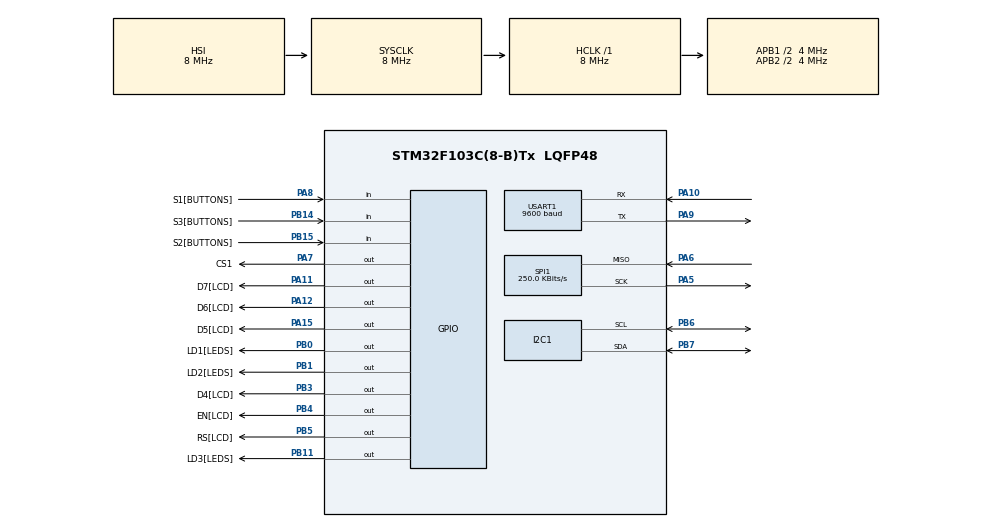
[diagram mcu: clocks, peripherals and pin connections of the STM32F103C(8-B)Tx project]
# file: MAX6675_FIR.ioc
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I2C1.I2C_Mode=I2C_Standard
Mcu.Family=STM32F1
Mcu.Name=STM32F103C(8-B)Tx
Mcu.Package=LQFP48
NVIC.PriorityGroup=NVIC_PRIORITYGROUP_4
PA10.Mode=Asynchronous
PA10.Signal=USART1_RX
PA11.GPIO_Label=D7[LCD]
PA11.Signal=GPIO_Output
PA12.GPIO_Label=D6[LCD]
PA12.Signal=GPIO_Output
PA13.Mode=Serial_Wire
PA13.Signal=SYS_JTMS-SWDIO
PA14.Mode=Serial_Wire
PA14.Signal=SYS_JTCK-SWCLK
PA15.GPIO_Label=D5[LCD]
PA15.Signal=GPIO_Output
PA5.Mode=RX_Only_Simplex_Unidirect_Master
PA5.Signal=SPI1_SCK
PA6.Mode=RX_Only_Simplex_Unidirect_Master
PA6.Signal=SPI1_MISO
PA7.GPIO_Label=CS1
PA7.Signal=GPIO_Output
PA8.GPIO_Label=S1[BUTTONS]
PA8.Signal=GPIO_Input
PA9.Mode=Asynchronous
PA9.Signal=USART1_TX
PB0.GPIO_Label=LD1[LEDS]
PB0.Signal=GPIO_Output
PB1.GPIO_Label=LD2[LEDS]
PB1.Signal=GPIO_Output
PB11.GPIO_Label=LD3[LEDS]
PB11.Signal=GPIO_Output
PB14.GPIO_Label=S3[BUTTONS]
PB14.Signal=GPIO_Input
PB15.GPIO_Label=S2[BUTTONS]
PB15.Signal=GPIO_Input
PB3.GPIO_Label=D4[LCD]
PB3.Signal=GPIO_Output
PB4.GPIO_Label=EN[LCD]
PB4.Signal=GPIO_Output
PB5.GPIO_Label=RS[LCD]
PB5.Signal=GPIO_Output
PB6.Mode=I2C
PB6.Signal=I2C1_SCL
PB7.Mode=I2C
PB7.Signal=I2C1_SDA
ProjectManager.HeapSize=0x200
ProjectManager.StackSize=0x400
ProjectManager.TargetToolchain=TrueSTUDIO
RCC.AHBFreq_Value=8000000
RCC.APB1CLKDivider=RCC_HCLK_DIV2
RCC.APB1Freq_Value=4000000
RCC.APB1TimFreq_Value=8000000
RCC.APB2CLKDivider=RCC_HCLK_DIV2
RCC.APB2Freq_Value=4000000
RCC.APB2TimFreq_Value=8000000
RCC.HCLKFreq_Value=8000000
RCC.PLLMUL=RCC_PLL_MUL9
RCC.SYSCLKFreq_VALUE=8000000
RCC.USBFreq_Value=36000000
SPI1.BaudRatePrescaler=SPI_BAUDRATEPRESCALER_16
SPI1.CLKPhase=SPI_PHASE_1EDGE
SPI1.CLKPolarity=SPI_POLARITY_LOW
SPI1.CalculateBaudRate=250.0 KBits/s
SPI1.DataSize=SPI_DATASIZE_8BIT
SPI1.Direction=SPI_DIRECTION_2LINES_RXONLY
SPI1.FirstBit=SPI_FIRSTBIT_MSB
SPI1.Mode=SPI_MODE_MASTER
SPI1.VirtualType=VM_MASTER
USART1.BaudRate=9600
USART1.VirtualMode=VM_ASYNC
board=MAX6675_FIR

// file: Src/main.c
/**
  ******************************************************************************
  * @file           : main.c
  * @brief          : Main program body
  ******************************************************************************
  ** This notice applies to any and all portions of this file
  * that are not between comment pairs USER CODE BEGIN and
  * USER CODE END. Other portions of this file, whether
  * inserted by the user or by software development tools
  * are owned by their respective copyright owners.
  *
  * COPYRIGHT(c) 2018 STMicroelectronics
  *
  * Redistribution and use in source and binary forms, with or without modification,
  * are permitted provided that the following conditions are met:
  *   1. Redistributions of source code must retain the above copyright notice,
  *      this list of conditions and the following disclaimer.
  *   2. Redistributions in binary form must reproduce the above copyright notice,
  *      this list of conditions and the following disclaimer in the documentation
  *      and/or other materials provided with the distribution.
  *   3. Neither the name of STMicroelectronics nor the names of its contributors
  *      may be used to endorse or promote products derived from this software
  *      without specific prior written permission.
  *
  * THIS SOFTWARE IS PROVIDED BY THE COPYRIGHT HOLDERS AND CONTRIBUTORS "AS IS"
  * AND ANY EXPRESS OR IMPLIED WARRANTIES, INCLUDING, BUT NOT LIMITED TO, THE
  * IMPLIED WARRANTIES OF MERCHANTABILITY AND FITNESS FOR A PARTICULAR PURPOSE ARE
  * DISCLAIMED. IN NO EVENT SHALL THE COPYRIGHT HOLDER OR CONTRIBUTORS BE LIABLE
  * FOR ANY DIRECT, INDIRECT, INCIDENTAL, SPECIAL, EXEMPLARY, OR CONSEQUENTIAL
  * DAMAGES (INCLUDING, BUT NOT LIMITED TO, PROCUREMENT OF SUBSTITUTE GOODS OR
  * SERVICES; LOSS OF USE, DATA, OR PROFITS; OR BUSINESS INTERRUPTION) HOWEVER
  * CAUSED AND ON ANY THEORY OF LIABILITY, WHETHER IN CONTRACT, STRICT LIABILITY,
  * OR TORT (INCLUDING NEGLIGENCE OR OTHERWISE) ARISING IN ANY WAY OUT OF THE USE
  * OF THIS SOFTWARE, EVEN IF ADVISED OF THE POSSIBILITY OF SUCH DAMAGE.
  *
  ******************************************************************************
  */
#include "main.h"
#include "stm32f1xx_hal.h"

I2C_HandleTypeDef hi2c1;

SPI_HandleTypeDef hspi1;

UART_HandleTypeDef huart1;

/* USER CODE BEGIN PV */
/* Private variables ---------------------------------------------------------*/

#define N 50

uint8_t data[2];

 uint32_t filtered=0,value=0;
 uint32_t vals[N];                                   //vetor com N posições

 char buffer[10];
 char buff[10];
 uint16_t temperature=0,result_spi=0;
 float temp=0,current_temp=0,final_temp=0;

 float temper = 0;
char string[15] = {0};

/* USER CODE END PV */

void SystemClock_Config(void);
static void MX_GPIO_Init(void);
static void MX_I2C1_Init(void);
static void MX_SPI1_Init(void);
static void MX_USART1_UART_Init(void);

/* USER CODE BEGIN PFP */
/* Private function prototypes -----------------------------------------------*/

uint32_t moving_average()                          //Retorna a média móvel de acordo com a resolução designada
{
  uint8_t i;                                       //Variável para iterações
  uint32_t adder = 0;                              //Variável para somatório

  	     HAL_GPIO_WritePin(CS1_GPIO_Port,CS1_Pin,GPIO_PIN_RESET);
  	     HAL_Delay(2);
  	     HAL_GPIO_WritePin(CS1_GPIO_Port,CS1_Pin,GPIO_PIN_SET);
  	     HAL_Delay(2);
  	     HAL_GPIO_WritePin(CS1_GPIO_Port,CS1_Pin,GPIO_PIN_RESET);
  	     HAL_SPI_Receive(&hspi1,data,2,HAL_MAX_DELAY);
  	     HAL_GPIO_WritePin(CS1_GPIO_Port,CS1_Pin,GPIO_PIN_SET);
	 	  temperature = (uint16_t)(data[0] >> 3);
	 	  temperature |= (uint16_t)(data[1] << 5);
	 	  result_spi = temperature;

  for(i = N; i > 0; i--)                       // Desloca vetor descartando o elemento mais antigo
  {
    vals[i] = vals[i-1];

  } //end for

  vals[0] = result_spi;                        //O primeiro elemento do vetor recebe o valor do ADC

  for(i = 0; i < N; i++)                       //Faz a somatória
  {
    adder = adder + vals[i];

  }

  return adder / N;                            //Retorna a média

} //end moving_average

/* USER CODE END PFP */

/* USER CODE BEGIN 0 */

void write_lcd (uint8_t data, uint8_t cmd_data)
{
	// identifica comando ou dado
	if (cmd_data) HAL_GPIO_WritePin(RS_GPIO_Port, RS_Pin, GPIO_PIN_SET);
	else 					HAL_GPIO_WritePin(RS_GPIO_Port, RS_Pin, GPIO_PIN_RESET);

	// 4 bits high
	if (data & 0x80) HAL_GPIO_WritePin (D7_GPIO_Port, D7_Pin, GPIO_PIN_SET);
	else						 HAL_GPIO_WritePin (D7_GPIO_Port, D7_Pin, GPIO_PIN_RESET);
	if (data & 0x40) HAL_GPIO_WritePin (D6_GPIO_Port, D6_Pin, GPIO_PIN_SET);
	else						 HAL_GPIO_WritePin (D6_GPIO_Port, D6_Pin, GPIO_PIN_RESET);
	if (data & 0x20) HAL_GPIO_WritePin (D5_GPIO_Port, D5_Pin, GPIO_PIN_SET);
	else						 HAL_GPIO_WritePin (D5_GPIO_Port, D5_Pin, GPIO_PIN_RESET);
	if (data & 0x10) HAL_GPIO_WritePin (D4_GPIO_Port, D4_Pin, GPIO_PIN_SET);
	else						 HAL_GPIO_WritePin (D4_GPIO_Port, D4_Pin, GPIO_PIN_RESET);

	HAL_GPIO_WritePin(EN_GPIO_Port, EN_Pin, GPIO_PIN_SET);
	HAL_Delay(2);
	HAL_GPIO_WritePin(EN_GPIO_Port, EN_Pin, GPIO_PIN_RESET);

	// 4 bits Low
	if (data & 0x08) HAL_GPIO_WritePin (D7_GPIO_Port, D7_Pin, GPIO_PIN_SET);
	else						 HAL_GPIO_WritePin (D7_GPIO_Port, D7_Pin, GPIO_PIN_RESET);
	if (data & 0x04) HAL_GPIO_WritePin (D6_GPIO_Port, D6_Pin, GPIO_PIN_SET);
	else						 HAL_GPIO_WritePin (D6_GPIO_Port, D6_Pin, GPIO_PIN_RESET);
	if (data & 0x02) HAL_GPIO_WritePin (D5_GPIO_Port, D5_Pin, GPIO_PIN_SET);
	else						 HAL_GPIO_WritePin (D5_GPIO_Port, D5_Pin, GPIO_PIN_RESET);
	if (data & 0x01) HAL_GPIO_WritePin (D4_GPIO_Port, D4_Pin, GPIO_PIN_SET);
	else						 HAL_GPIO_WritePin (D4_GPIO_Port, D4_Pin, GPIO_PIN_RESET);

	HAL_GPIO_WritePin(EN_GPIO_Port, EN_Pin, GPIO_PIN_SET);
	HAL_Delay(2);
	HAL_GPIO_WritePin(EN_GPIO_Port, EN_Pin, GPIO_PIN_RESET);
}

/* init_LCD - Inicializa o display em 4bits */
void init_lcd(void)
{
	write_lcd(0x33, 0);
	write_lcd(0x32, 0);
	write_lcd(0x28, 0);
	write_lcd(0x06, 0);
	write_lcd(0x0C, 0);
	write_lcd(0x01, 0);
}

/* string_lcd - escreve string no LCD */
void string_lcd (char *string)
{
	while(*string) write_lcd(*string++, 1);
}

/* USER CODE END 0 */

int main(void)
{

  /* MCU Configuration----------------------------------------------------------*/

  /* Reset of all peripherals, Initializes the Flash interface and the Systick. */
  HAL_Init();

  /* Configure the system clock */
  SystemClock_Config();

  /* Initialize all configured peripherals */
  MX_GPIO_Init();
  MX_I2C1_Init();
  MX_SPI1_Init();
  MX_USART1_UART_Init();
  /* USER CODE BEGIN 2 */

  init_lcd();
   write_lcd(0x84,0);
   string_lcd("DSF 2018");
   write_lcd(0xC5,0);
   string_lcd("LNNANO");
   HAL_Delay(1000);
   write_lcd(0x01,0);
   HAL_GPIO_WritePin(CS1_GPIO_Port,CS1_Pin,GPIO_PIN_SET);
   HAL_Delay(2);

  /* USER CODE END 2 */

  /* Infinite loop */
  while (1)
  {

  /* USER CODE BEGIN 3 */

	  	  filtered = moving_average();
	  	  temp = filtered *0.25;
	 	  sprintf(buffer,"%2.2f",temp);
	 	  write_lcd(0x80,0);
	 	  string_lcd(buffer);
	 	  sprintf(buff,"%c",0xdf);
	 	  if(temp>9.9)write_lcd(0x85,0);
	 	  else write_lcd(0x84,0);
	 	  string_lcd(buff);
	 	  if(temp>9.9) write_lcd(0x86,0);
	 	  else write_lcd(0x85,0);
	 	  string_lcd("C ");
	 	  HAL_Delay(300);

  }
  /* USER CODE END 3 */

}

void SystemClock_Config(void)
{

  RCC_OscInitTypeDef RCC_OscInitStruct;
  RCC_ClkInitTypeDef RCC_ClkInitStruct;

    /**Initializes the CPU, AHB and APB busses clocks
    */
  RCC_OscInitStruct.OscillatorType = RCC_OSCILLATORTYPE_HSI;
  RCC_OscInitStruct.HSIState = RCC_HSI_ON;
  RCC_OscInitStruct.HSICalibrationValue = 16;
  RCC_OscInitStruct.PLL.PLLState = RCC_PLL_NONE;
  if (HAL_RCC_OscConfig(&RCC_OscInitStruct) != HAL_OK)
  {
    _Error_Handler(__FILE__, __LINE__);
  }

    /**Initializes the CPU, AHB and APB busses clocks
    */
  RCC_ClkInitStruct.ClockType = RCC_CLOCKTYPE_HCLK|RCC_CLOCKTYPE_SYSCLK
                              |RCC_CLOCKTYPE_PCLK1|RCC_CLOCKTYPE_PCLK2;
  RCC_ClkInitStruct.SYSCLKSource = RCC_SYSCLKSOURCE_HSI;
  RCC_ClkInitStruct.AHBCLKDivider = RCC_SYSCLK_DIV1;
  RCC_ClkInitStruct.APB1CLKDivider = RCC_HCLK_DIV2;
  RCC_ClkInitStruct.APB2CLKDivider = RCC_HCLK_DIV2;

  if (HAL_RCC_ClockConfig(&RCC_ClkInitStruct, FLASH_LATENCY_0) != HAL_OK)
  {
    _Error_Handler(__FILE__, __LINE__);
  }

    /**Configure the Systick interrupt time
    */
  HAL_SYSTICK_Config(HAL_RCC_GetHCLKFreq()/1000);

    /**Configure the Systick
    */
  HAL_SYSTICK_CLKSourceConfig(SYSTICK_CLKSOURCE_HCLK);

  /* SysTick_IRQn interrupt configuration */
  HAL_NVIC_SetPriority(SysTick_IRQn, 0, 0);
}

/* I2C1 init function */
static void MX_I2C1_Init(void)
{

  hi2c1.Instance = I2C1;
  hi2c1.Init.ClockSpeed = 100000;
  hi2c1.Init.DutyCycle = I2C_DUTYCYCLE_2;
  hi2c1.Init.OwnAddress1 = 0;
  hi2c1.Init.AddressingMode = I2C_ADDRESSINGMODE_7BIT;
  hi2c1.Init.DualAddressMode = I2C_DUALADDRESS_DISABLE;
  hi2c1.Init.OwnAddress2 = 0;
  hi2c1.Init.GeneralCallMode = I2C_GENERALCALL_DISABLE;
  hi2c1.Init.NoStretchMode = I2C_NOSTRETCH_DISABLE;
  if (HAL_I2C_Init(&hi2c1) != HAL_OK)
  {
    _Error_Handler(__FILE__, __LINE__);
  }

}

/* SPI1 init function */
static void MX_SPI1_Init(void)
{

  /* SPI1 parameter configuration*/
  hspi1.Instance = SPI1;
  hspi1.Init.Mode = SPI_MODE_MASTER;
  hspi1.Init.Direction = SPI_DIRECTION_2LINES_RXONLY;
  hspi1.Init.DataSize = SPI_DATASIZE_8BIT;
  hspi1.Init.CLKPolarity = SPI_POLARITY_LOW;
  hspi1.Init.CLKPhase = SPI_PHASE_1EDGE;
  hspi1.Init.NSS = SPI_NSS_SOFT;
  hspi1.Init.BaudRatePrescaler = SPI_BAUDRATEPRESCALER_16;
  hspi1.Init.FirstBit = SPI_FIRSTBIT_MSB;
  hspi1.Init.TIMode = SPI_TIMODE_DISABLE;
  hspi1.Init.CRCCalculation = SPI_CRCCALCULATION_DISABLE;
  hspi1.Init.CRCPolynomial = 10;
  if (HAL_SPI_Init(&hspi1) != HAL_OK)
  {
    _Error_Handler(__FILE__, __LINE__);
  }

}

/* USART1 init function */
static void MX_USART1_UART_Init(void)
{

  huart1.Instance = USART1;
  huart1.Init.BaudRate = 9600;
  huart1.Init.WordLength = UART_WORDLENGTH_8B;
  huart1.Init.StopBits = UART_STOPBITS_1;
  huart1.Init.Parity = UART_PARITY_NONE;
  huart1.Init.Mode = UART_MODE_TX_RX;
  huart1.Init.HwFlowCtl = UART_HWCONTROL_NONE;
  huart1.Init.OverSampling = UART_OVERSAMPLING_16;
  if (HAL_UART_Init(&huart1) != HAL_OK)
  {
    _Error_Handler(__FILE__, __LINE__);
  }

}

/** Configure pins as
        * Analog
        * Input
        * Output
        * EVENT_OUT
        * EXTI
*/
static void MX_GPIO_Init(void)
{

  GPIO_InitTypeDef GPIO_InitStruct;

  /* GPIO Ports Clock Enable */
  __HAL_RCC_GPIOA_CLK_ENABLE();
  __HAL_RCC_GPIOB_CLK_ENABLE();

  /*Configure GPIO pin Output Level */
  HAL_GPIO_WritePin(GPIOA, CS1_Pin|D7_Pin|D6_Pin|D5_Pin, GPIO_PIN_RESET);

  /*Configure GPIO pin Output Level */
  HAL_GPIO_WritePin(GPIOB, LD1_Pin|LD2_Pin|LD3_Pin|D4_Pin
                          |EN_Pin|RS_Pin, GPIO_PIN_RESET);

  /*Configure GPIO pins : CS1_Pin D7_Pin D6_Pin D5_Pin */
  GPIO_InitStruct.Pin = CS1_Pin|D7_Pin|D6_Pin|D5_Pin;
  GPIO_InitStruct.Mode = GPIO_MODE_OUTPUT_PP;
  GPIO_InitStruct.Speed = GPIO_SPEED_FREQ_LOW;
  HAL_GPIO_Init(GPIOA, &GPIO_InitStruct);

  /*Configure GPIO pins : LD1_Pin LD2_Pin LD3_Pin D4_Pin
                           EN_Pin RS_Pin */
  GPIO_InitStruct.Pin = LD1_Pin|LD2_Pin|LD3_Pin|D4_Pin
                          |EN_Pin|RS_Pin;
  GPIO_InitStruct.Mode = GPIO_MODE_OUTPUT_PP;
  GPIO_InitStruct.Speed = GPIO_SPEED_FREQ_LOW;
  HAL_GPIO_Init(GPIOB, &GPIO_InitStruct);

  /*Configure GPIO pins : S3_Pin S2_Pin */
  GPIO_InitStruct.Pin = S3_Pin|S2_Pin;
  GPIO_InitStruct.Mode = GPIO_MODE_INPUT;
  GPIO_InitStruct.Pull = GPIO_NOPULL;
  HAL_GPIO_Init(GPIOB, &GPIO_InitStruct);

  /*Configure GPIO pin : S1_Pin */
  GPIO_InitStruct.Pin = S1_Pin;
  GPIO_InitStruct.Mode = GPIO_MODE_INPUT;
  GPIO_InitStruct.Pull = GPIO_NOPULL;
  HAL_GPIO_Init(S1_GPIO_Port, &GPIO_InitStruct);

}

void _Error_Handler(char *file, int line)
{
  while(1)
  {
  }
}

/************************ (C) COPYRIGHT STMicroelectronics *****END OF FILE****/
